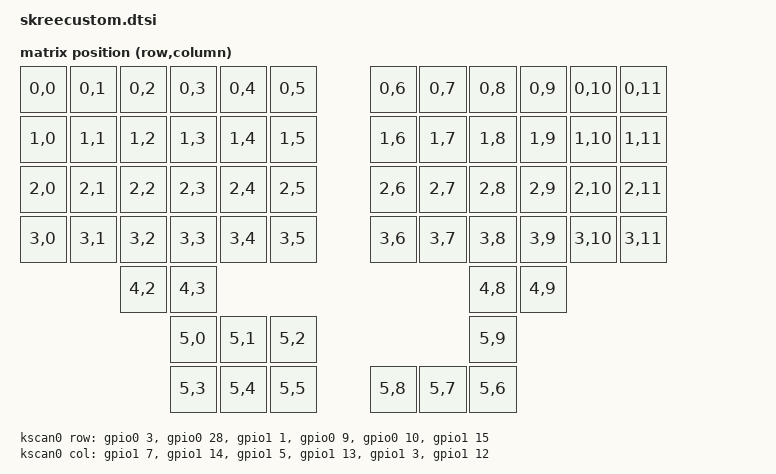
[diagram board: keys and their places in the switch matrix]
#include <dt-bindings/zmk/matrix_transform.h>

 / {
     chosen {
        zmk,kscan = &kscan0;
        zmk,matrix_transform = &default_transform;
    };


     // Left half = cols 0-5, right half = cols 6-11 (col-offset 6).
     // Row 5 is the thumb row (1.15); 1.11 is not scanned.
     default_transform: keymap_transform_0 {
         compatible = "zmk,matrix-transform";
         columns = <12>;
         rows = <6>;

         map = <
    RC(0,0) RC(0,1) RC(0,2) RC(0,3) RC(0,4) RC(0,5)		    RC(0,6) RC(0,7) RC(0,8) RC(0,9) RC(0,10) RC(0,11)
    RC(1,0) RC(1,1) RC(1,2) RC(1,3) RC(1,4) RC(1,5)		    RC(1,6) RC(1,7) RC(1,8) RC(1,9) RC(1,10) RC(1,11)
    RC(2,0) RC(2,1) RC(2,2) RC(2,3) RC(2,4) RC(2,5)		    RC(2,6) RC(2,7) RC(2,8) RC(2,9) RC(2,10) RC(2,11)
    RC(3,0) RC(3,1) RC(3,2) RC(3,3) RC(3,4) RC(3,5)		    RC(3,6) RC(3,7) RC(3,8) RC(3,9) RC(3,10) RC(3,11)
                    RC(4,2) RC(4,3)                                         RC(4,8) RC(4,9)

			                RC(5,0) RC(5,1) RC(5,2) 	                    RC(5,9)
			                RC(5,3) RC(5,4) RC(5,5) 	    RC(5,8) RC(5,7) RC(5,6)
         >;
     };

     kscan0: kscan_0 {
        compatible = "zmk,kscan-gpio-matrix";
        wakeup-source;
        diode-direction = "col2row";
        row-gpios
             = <&gpio0 3 (GPIO_ACTIVE_HIGH | GPIO_PULL_DOWN)> //r1-6 0.03 0.28 1.01 0.09 0.10 1.15thumbs
            , <&gpio0 28 (GPIO_ACTIVE_HIGH | GPIO_PULL_DOWN)>
            , <&gpio1 1 (GPIO_ACTIVE_HIGH | GPIO_PULL_DOWN)>
            , <&gpio0 9 (GPIO_ACTIVE_HIGH | GPIO_PULL_DOWN)>
            , <&gpio0 10 (GPIO_ACTIVE_HIGH | GPIO_PULL_DOWN)>
            //, <&gpio1 11 (GPIO_ACTIVE_HIGH | GPIO_PULL_DOWN)>
            , <&gpio1 15 (GPIO_ACTIVE_HIGH | GPIO_PULL_DOWN)>
            ;

        col-gpios           // Col1-7 1.07 1.14 1.05 1.13 1.03 1.12 0.16 (same on both halves)
            = <&gpio1 7 GPIO_ACTIVE_HIGH>
            , <&gpio1 14 GPIO_ACTIVE_HIGH>
            , <&gpio1 5 GPIO_ACTIVE_HIGH>
            , <&gpio1 13 GPIO_ACTIVE_HIGH>
            , <&gpio1 3 GPIO_ACTIVE_HIGH>
            , <&gpio1 12 GPIO_ACTIVE_HIGH>
//          , <&gpio0 16 GPIO_ACTIVE_HIGH>
            ;
    };

//right hand trackball -> sent to the left (central) over the split link
    split_inputs {
        #address-cells = <1>;
        #size-cells = <0>;

        trackball_split: trackball_split@0 {
            compatible = "zmk,input-split";
            reg = <0>;
        };
    };

    // Enabled on the left (central) only. Axis orientation is handled by the
    // sensor itself (swap-xy / invert-x / invert-y in skreecustom_right.overlay).
    trackball_listener: trackball_listener {
        compatible = "zmk,input-listener";
        status = "disabled";
        device = <&trackball_split>;
    };
};
